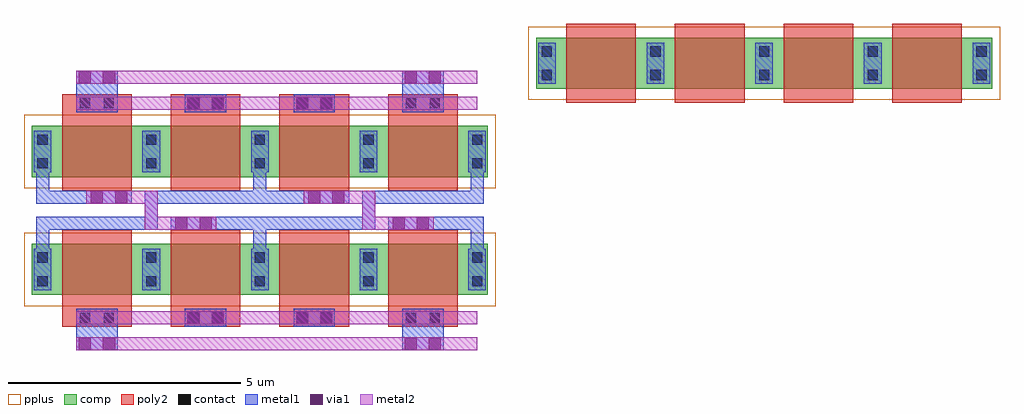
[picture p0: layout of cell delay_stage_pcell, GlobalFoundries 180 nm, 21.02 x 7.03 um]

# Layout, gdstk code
import gdstk
lib = gdstk.Library(unit=1e-6, precision=5e-09)
def R(c, l, rs):  # rectangles x0, y0, x1, y1
    for r in rs: c.add(gdstk.rectangle(r[:2], r[2:], *l))
def A(c, l, x, y, w, h, nx, ny, dx, dy):  # array of equal rectangles
    R(c, l, [(x+i*dx, y+j*dy, x+i*dx+w, y+j*dy+h) for i in range(nx) for j in range(ny)])
comp = (22, 0)
poly2 = (30, 0)
pplus = (31, 0)
contact = (33, 0)
metal1 = (34, 0)
via1 = (35, 0)
metal2 = (36, 0)

delay_stage_pcell_1_1 = lib.new_cell('delay_stage_pcell_1$1')
R(delay_stage_pcell_1_1, comp, [(0.17,0.3,0.63,1.4), (0.63,0.3,2.51,1.4), (2.51,0.3,2.97,1.4)])
R(delay_stage_pcell_1_1, poly2, [(0.82,0,2.32,1.7)])
R(delay_stage_pcell_1_1, pplus, [(0,0.06,3.14,1.64)])
R(delay_stage_pcell_1_1, contact, [(0.29,0.485,0.51,0.705), (2.63,0.485,2.85,0.705), (0.29,0.995,0.51,1.215), (2.63,0.995,2.85,1.215)])
R(delay_stage_pcell_1_1, metal1, [(0.21,0.405,0.59,1.295), (2.55,0.405,2.93,1.295)])

delay_stage_pcell_4 = lib.new_cell('delay_stage_pcell_4')
delay_stage_pcell_4.add(gdstk.Reference(delay_stage_pcell_1_1, (0,0)))
delay_stage_pcell_4.add(gdstk.Reference(delay_stage_pcell_1_1, (2.34,0)))
delay_stage_pcell_4.add(gdstk.Reference(delay_stage_pcell_1_1, (4.68,0)))
delay_stage_pcell_4.add(gdstk.Reference(delay_stage_pcell_1_1, (7.02,0)))

delay_stage_pcell = lib.new_cell('delay_stage_pcell')
A(delay_stage_pcell, poly2, 1.5, -1.59, 1.5, 0.38, 4, 2, 2.34, 4.62)
R(delay_stage_pcell, contact, [(1.885,-1.51,2.105,-1.29), (2.395,-1.51,2.615,-1.29), (4.225,-1.51,4.445,-1.29), (4.735,-1.51,4.955,-1.29), (6.565,-1.51,6.785,-1.29), (7.075,-1.51,7.295,-1.29), (8.905,-1.51,9.125,-1.29), (9.415,-1.51,9.635,-1.29), (1.885,3.11,2.105,3.33), (2.395,3.11,2.615,3.33), (4.225,3.11,4.445,3.33), (4.735,3.11,4.955,3.33), (6.565,3.11,6.785,3.33), (7.075,3.11,7.295,3.33), (8.905,3.11,9.125,3.33), (9.415,3.11,9.635,3.33)])
R(delay_stage_pcell, metal1, [(1.805,-2.1,2.695,-1.21), (8.825,-2.1,9.715,-1.21), (4.145,-1.59,5.035,-1.21), (6.485,-1.59,7.375,-1.21), (1.805,3.03,2.695,3.92), (4.145,3.03,5.035,3.41), (6.485,3.03,7.375,3.41), (8.825,3.03,9.715,3.92)])
R(delay_stage_pcell, via1, [(1.86,-2.09,2.12,-1.83), (2.38,-2.09,2.64,-1.83), (8.88,-2.09,9.14,-1.83), (9.4,-2.09,9.66,-1.83), (4.2,-1.53,4.46,-1.27), (4.72,-1.53,4.98,-1.27), (6.54,-1.53,6.8,-1.27), (7.06,-1.53,7.32,-1.27), (3.94,0.5,4.2,0.76), (4.46,0.5,4.72,0.76), (8.62,0.5,8.88,0.76), (9.14,0.5,9.4,0.76), (2.12,1.06,2.38,1.32), (2.64,1.06,2.9,1.32), (6.8,1.06,7.06,1.32), (7.32,1.06,7.58,1.32), (4.2,3.09,4.46,3.35), (4.72,3.09,4.98,3.35), (6.54,3.09,6.8,3.35), (7.06,3.09,7.32,3.35), (1.86,3.65,2.12,3.91), (2.38,3.65,2.64,3.91), (8.88,3.65,9.14,3.91), (9.4,3.65,9.66,3.91)])
delay_stage_pcell.add(gdstk.FlexPath([(1.08,1.735),(1.08,1.19),(2.02,1.19)], 0.28, ends="flush", simple_path=True, layer=34, datatype=0))  # metal1
delay_stage_pcell.add(gdstk.FlexPath([(1.08,0.085),(1.08,0.63),(2.02,0.63)], 0.28, ends="flush", simple_path=True, layer=34, datatype=0))  # metal1
delay_stage_pcell.add(gdstk.FlexPath([(5.76,0.085),(5.76,0.49)], 0.28, ends="flush", simple_path=True, layer=34, datatype=0))  # metal1
delay_stage_pcell.add(gdstk.FlexPath([(5.76,1.735),(5.76,1.33)], 0.28, ends="flush", simple_path=True, layer=34, datatype=0))  # metal1
delay_stage_pcell.add(gdstk.FlexPath([(9.5,1.19),(10.44,1.19),(10.44,1.735)], 0.28, ends="flush", simple_path=True, layer=34, datatype=0))  # metal1
delay_stage_pcell.add(gdstk.FlexPath([(10.44,0.085),(10.44,0.63),(9.5,0.63)], 0.28, ends="flush", simple_path=True, layer=34, datatype=0))  # metal1
delay_stage_pcell.add(gdstk.FlexPath([(2.02,0.63),(3.42,0.63),(3.42,1.19),(4.82,1.19)], 0.28, ends="flush", simple_path=True, layer=34, datatype=0))  # metal1
delay_stage_pcell.add(gdstk.FlexPath([(6.7,0.63),(8.1,0.63),(8.1,1.19),(9.5,1.19)], 0.28, ends="flush", simple_path=True, layer=34, datatype=0))  # metal1
delay_stage_pcell.add(gdstk.FlexPath([(8.52,0.63),(9.5,0.63)], 0.28, ends="flush", simple_path=True, layer=34, datatype=0))  # metal1
delay_stage_pcell.add(gdstk.FlexPath([(6.7,1.19),(7.68,1.19)], 0.28, ends="flush", simple_path=True, layer=34, datatype=0))  # metal1
delay_stage_pcell.add(gdstk.FlexPath([(2.02,1.19),(3,1.19)], 0.28, ends="flush", simple_path=True, layer=34, datatype=0))  # metal1
delay_stage_pcell.add(gdstk.FlexPath([(3.84,0.63),(4.82,0.63)], 0.28, ends="flush", simple_path=True, layer=34, datatype=0))  # metal1
delay_stage_pcell.add(gdstk.FlexPath([(6.7,0.63),(4.82,0.63)], 0.28, ends="flush", simple_path=True, layer=34, datatype=0))  # metal1
delay_stage_pcell.add(gdstk.FlexPath([(6.7,1.19),(4.82,1.19)], 0.28, ends="flush", simple_path=True, layer=34, datatype=0))  # metal1
delay_stage_pcell.add(gdstk.FlexPath([(1.805,-1.4),(10.44,-1.4)], 0.28, ends="flush", simple_path=True, layer=36, datatype=0))  # metal2
delay_stage_pcell.add(gdstk.FlexPath([(1.805,3.22),(10.44,3.22)], 0.28, ends="flush", simple_path=True, layer=36, datatype=0))  # metal2
delay_stage_pcell.add(gdstk.FlexPath([(1.805,3.78),(10.44,3.78)], 0.28, ends="flush", simple_path=True, layer=36, datatype=0))  # metal2
delay_stage_pcell.add(gdstk.FlexPath([(1.8,-1.96),(10.44,-1.96)], 0.28, ends="flush", simple_path=True, layer=36, datatype=0))  # metal2
delay_stage_pcell.add(gdstk.FlexPath([(2.02,1.19),(3.42,1.19),(3.42,0.63),(4.82,0.63)], 0.28, ends="flush", simple_path=True, layer=36, datatype=0))  # metal2
delay_stage_pcell.add(gdstk.FlexPath([(6.7,1.19),(8.1,1.19),(8.1,0.63),(9.5,0.63)], 0.28, ends="flush", simple_path=True, layer=36, datatype=0))  # metal2
delay_stage_pcell.add(gdstk.Reference(delay_stage_pcell_4, (0.68,1.33)))
delay_stage_pcell.add(gdstk.Reference(delay_stage_pcell_4, (11.54,3.23)))
delay_stage_pcell.add(gdstk.Reference(delay_stage_pcell_4, (0.68,0.49), x_reflection=True))

lib.write_gds('delay_stage_pcell.gds')
